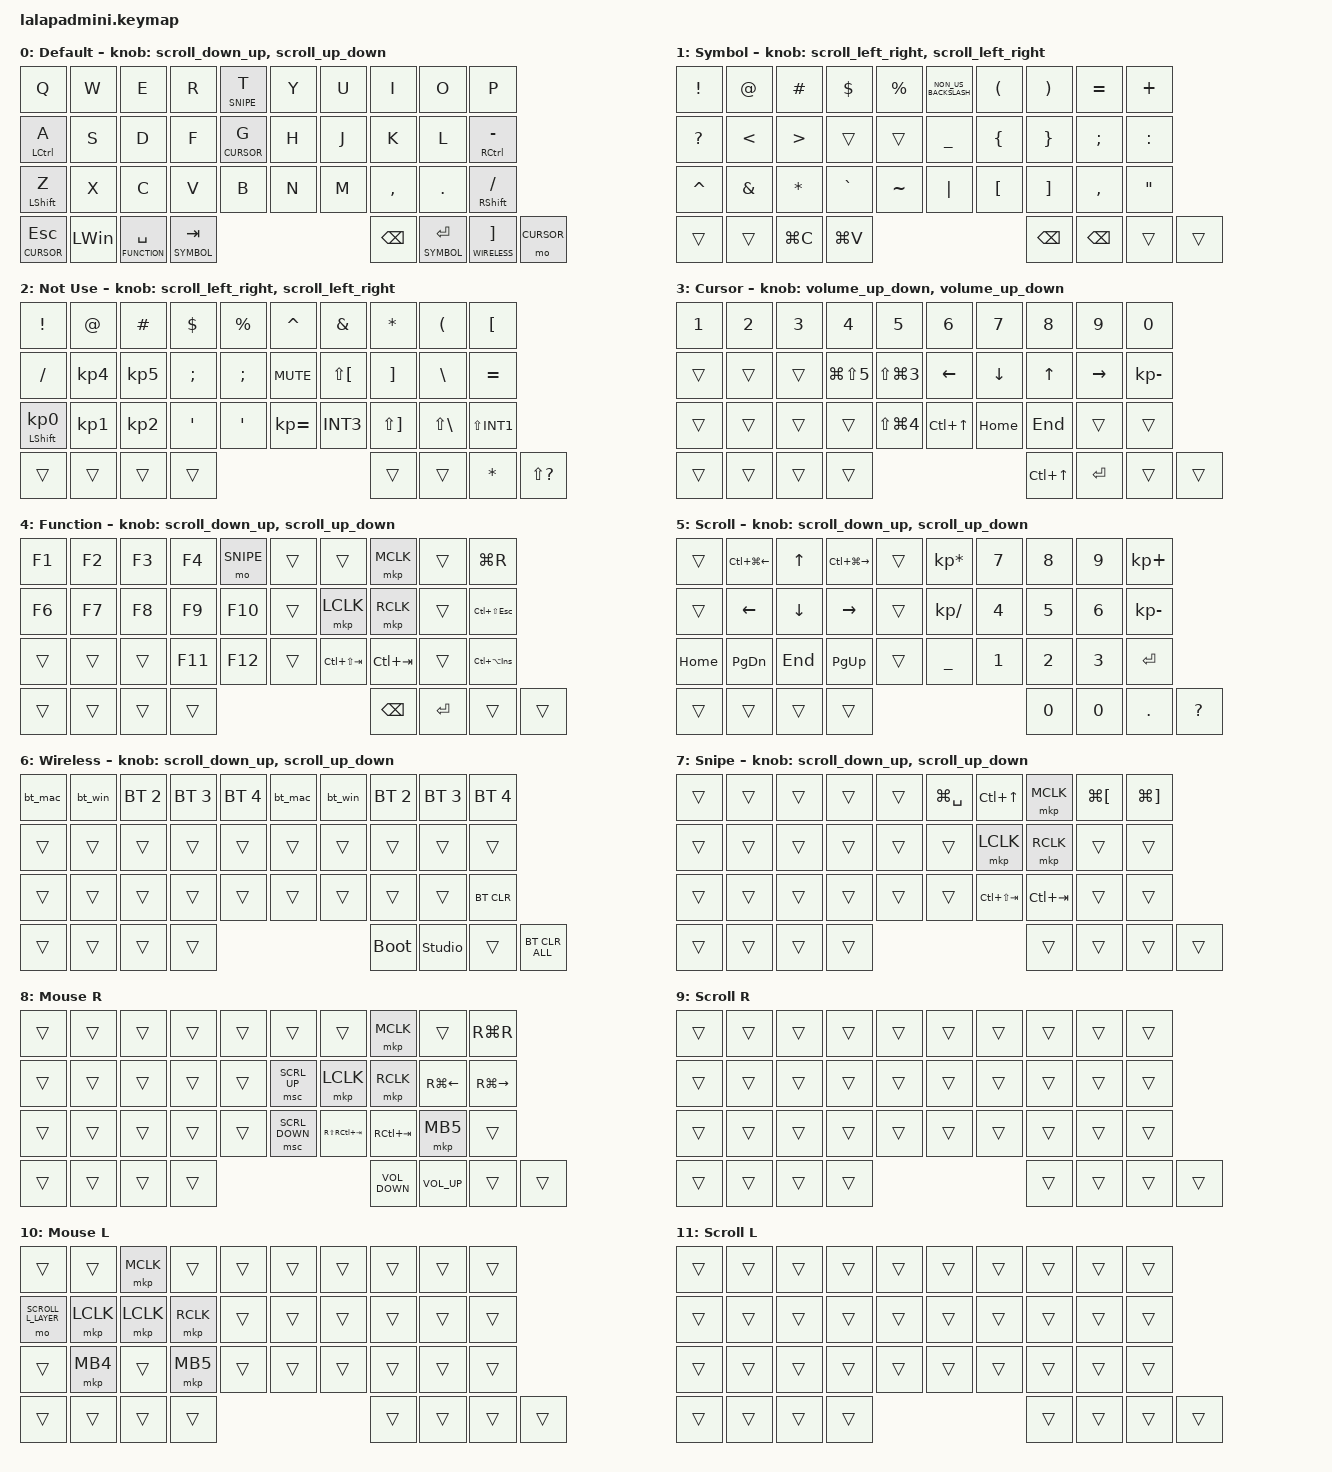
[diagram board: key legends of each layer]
#include <input/processors.dtsi>
#include <behaviors.dtsi>
#include <dt-bindings/zmk/bt.h>
#include <dt-bindings/zmk/keys.h>
#include <dt-bindings/zmk/pointing.h>

#define DEFAULT_LAYER   0
#define SYMBOL          1
#define NOT_USE         2
#define CURSOR          3
#define FUNCTION        4
#define SCROLL          5
#define WIRELESS        6
#define SNIPE           7
#define MOUSE_R_LAYER   8
#define SCROLL_R_LAYER  9
#define MOUSE_L_LAYER   10
#define SCROLL_L_LAYER  11

// Mouse Scroll Value

#define ZMK_POINTING_DEFAULT_SCRL_VAL 100

// cirque trackpad input&layer control

&glidepoint_listener_R {
    input-processors =
        <&zip_xy_transform (INPUT_TRANSFORM_XY_SWAP | INPUT_TRANSFORM_X_INVERT | INPUT_TRANSFORM_Y_INVERT)>,
        <&zip_xy_scaler 3 2>,
        <&zip_temp_layer MOUSE_R_LAYER 300>;

    lowspeedmode {
        layers = <SYMBOL>;
        input-processors =
            <&zip_xy_transform (INPUT_TRANSFORM_XY_SWAP | INPUT_TRANSFORM_X_INVERT | INPUT_TRANSFORM_Y_INVERT)>,
            <&zip_xy_scaler 3 5>,
            <&zip_temp_layer MOUSE_R_LAYER 300>;
    };

    scroller {
        layers = <SCROLL_R_LAYER>;
        input-processors =
            <&zip_xy_to_scroll_mapper>,
            <&zip_scroll_transform (INPUT_TRANSFORM_XY_SWAP | INPUT_TRANSFORM_Y_INVERT)>,
            <&zip_scroll_scaler 1 32>;
    };

    cursor_scroller {
        layers = <CURSOR>;
        input-processors =
            <&zip_xy_to_scroll_mapper>,
            <&zip_scroll_transform (INPUT_TRANSFORM_XY_SWAP)>,
            <&zip_scroll_scaler 1 32>;
    };
};

&glidepoint_listener_L {
    input-processors =
        <&zip_xy_transform (INPUT_TRANSFORM_XY_SWAP | INPUT_TRANSFORM_X_INVERT | INPUT_TRANSFORM_Y_INVERT)>,
        <&zip_xy_scaler 3 2>,
        <&zip_temp_layer MOUSE_L_LAYER 300>;

    lowspeedmode {
        layers = <CURSOR>;
        input-processors =
            <&zip_xy_transform (INPUT_TRANSFORM_XY_SWAP | INPUT_TRANSFORM_X_INVERT | INPUT_TRANSFORM_Y_INVERT)>,
            <&zip_xy_scaler 3 4>,
            <&zip_temp_layer MOUSE_L_LAYER 300>;
    };

    scroller {
        layers = <SCROLL_L_LAYER>;
        input-processors =
            <&zip_xy_to_scroll_mapper>,
            <&zip_scroll_transform (INPUT_TRANSFORM_XY_SWAP | INPUT_TRANSFORM_Y_INVERT)>,
            <&zip_scroll_scaler 1 32>;
    };

    cursor_scroller {
        layers = <CURSOR>;
        input-processors =
            <&zip_xy_to_scroll_mapper>,
            <&zip_scroll_transform (INPUT_TRANSFORM_XY_SWAP)>,
            <&zip_scroll_scaler 1 32>;
    };
};

&mt { quick-tap-ms = <200>; };

&lt { quick-tap-ms = <200>; };

/ {
    behaviors {
        // Encoder to Mouse Scroll

        scroll_up_down: behavior_sensor_rotate_mouse_wheel_up_down {
            compatible = "zmk,behavior-sensor-rotate";
            #sensor-binding-cells = <0>;
            bindings = <&msc SCRL_UP>, <&msc SCRL_DOWN>;

            tap-ms = <20>;
        };

        scroll_down_up: behavior_sensor_rotate_mouse_wheel_down_up {
            compatible = "zmk,behavior-sensor-rotate";
            #sensor-binding-cells = <0>;
            bindings = <&msc SCRL_DOWN>, <&msc SCRL_UP>;

            tap-ms = <20>;
        };

        scroll_left_right: behavior_sensor_rotate_mouse_wheel_left_right {
            compatible = "zmk,behavior-sensor-rotate";
            #sensor-binding-cells = <0>;
            bindings = <&msc SCRL_LEFT>, <&msc SCRL_RIGHT>;

            tap-ms = <20>;
        };

        scroll_right_left: behavior_sensor_rotate_mouse_wheel_right_left {
            compatible = "zmk,behavior-sensor-rotate";
            #sensor-binding-cells = <0>;
            bindings = <&msc SCRL_RIGHT>, <&msc SCRL_LEFT>;

            tap-ms = <20>;
        };

        volume_up_down: behavior_sensor_rotate_volume_up_down {
            compatible = "zmk,behavior-sensor-rotate";
            #sensor-binding-cells = <0>;
            bindings = <&kp C_VOLUME_UP>, <&kp C_VOLUME_DOWN>;

            tap-ms = <20>;
        };

        mt_bal: mod_tap_balanced {
            compatible = "zmk,behavior-hold-tap";
            #binding-cells = <2>;
            flavor = "balanced";
            tapping-term-ms = <200>;
            quick-tap-ms = <175>;
            require-prior-idle-ms = <125>;
            bindings = <&kp>, <&kp>;
        };

        lt_hp: layer_tap_hold_preferred {
            compatible = "zmk,behavior-hold-tap";
            #binding-cells = <2>;
            flavor = "balanced";
            tapping-term-ms = <150>;
            quick-tap-ms = <150>;
            bindings = <&mo>, <&kp>;
        };

        bt_mac: bt_mac {
            compatible = "zmk,behavior-macro";
            #binding-cells = <0>;
            wait-ms = <100>;
            tap-ms = <100>;
            bindings = <&bt BT_SEL 0 &to 0>;
        };

        bt_win: bt_win {
            compatible = "zmk,behavior-macro";
            #binding-cells = <0>;
            wait-ms = <100>;
            tap-ms = <100>;
            bindings = <&bt BT_SEL 1 &to 0>;
        };
    };

    combos {
        compatible = "zmk,combos";

        ZenkakuHankaku {
            bindings = <&kp LANG_ZENKAKUHANKAKU>;
            key-positions = <11 12>;
        };

        DeleteKey {
            bindings = <&kp DEL>;
            key-positions = <7 8>;
        };

        InsertKey {
            bindings = <&kp INS>;
            key-positions = <6 7>;
        };

        RightClick {
            bindings = <&mkp MB2>;
            key-positions = <18 17>;
        };

        PrevClick {
            bindings = <&mkp MB4>;
            key-positions = <27 28>;
        };

        ClickNext {
            bindings = <&mkp MB5>;
            key-positions = <26 27>;
        };

        left-ctrl {
            bindings = <&kp LEFT_CONTROL>;
            key-positions = <10 11>;
        };

        ToggleIME {
            bindings = <&kp LC(SPACE)>;
            key-positions = <8 9>;
        };

        MomentaryCursor {
            bindings = <&mo CURSOR>;
            key-positions = <3 4>;
        };
    };

    keymap {
        compatible = "zmk,keymap";

        DEFAULT_LAYER {
            display-name = "Default";
            sensor-bindings = <&scroll_down_up>, <&scroll_up_down>;

            bindings = <
&kp Q                    &kp W         &kp E               &kp R      &lt_hp SNIPE T    &kp Y            &kp U      &kp I      &kp O           &kp P
&mt_bal LCTRL A          &kp S         &kp D               &kp F      &lt_hp CURSOR G   &kp H            &kp J      &kp K      &kp L           &mt_bal RIGHT_CONTROL MINUS
&mt_bal LEFT_SHIFT Z     &kp X         &kp C               &kp V      &kp B             &kp N            &kp M      &kp COMMA  &kp DOT         &mt_bal RIGHT_SHIFT SLASH
&lt CURSOR ESC           &kp LEFT_WIN                      &lt FUNCTION SPACE  &lt SYMBOL TAB   &kp BACKSPACE  &lt SYMBOL ENTER            &lt WIRELESS RIGHT_BRACKET  &mo CURSOR
            >;
        };

        SYMBOL_LAYER {
            display-name = "Symbol";
            sensor-bindings = <&scroll_left_right>, <&scroll_left_right>;

            bindings = <
&kp EXCLAMATION  &kp AT_SIGN    &kp HASH          &kp DOLLAR  &kp PERCENT    &kp NON_US_BACKSLASH  &kp LEFT_PARENTHESIS  &kp RIGHT_PARENTHESIS  &kp EQUAL         &kp PLUS
&kp QUESTION     &kp LESS_THAN  &kp GREATER_THAN  &trans      &trans         &kp UNDERSCORE        &kp LEFT_BRACE        &kp RIGHT_BRACE        &kp SEMICOLON     &kp COLON
&kp CARET        &kp AMPERSAND  &kp ASTERISK      &kp GRAVE   &kp TILDE      &kp PIPE              &kp LEFT_BRACKET      &kp RIGHT_BRACKET      &kp COMMA         &kp DOUBLE_QUOTES
&trans           &trans                            &kp LG(C)   &kp LG(V)      &kp BACKSPACE         &kp BACKSPACE                                &trans            &trans
            >;
        };

        NOT_USE {
            display-name = "Not Use";
            sensor-bindings = <&scroll_left_right>, <&scroll_left_right>;

            bindings = <
&kp EXCLAMATION             &kp AT           &kp HASH         &kp DOLLAR     &kp PERCENT      &kp CARET     &kp AMPERSAND  &kp ASTERISK           &kp LEFT_PARENTHESIS  &kp LBKT
&kp SLASH                   &kp KP_NUMBER_4  &kp KP_NUMBER_5  &kp SEMICOLON  &kp SEMICOLON    &kp C_MUTE    &kp LS(LBKT)   &kp RIGHT_BRACKET      &kp BACKSLASH         &kp EQUAL
&mt LEFT_SHIFT KP_NUMBER_0  &kp KP_NUMBER_1  &kp KP_NUMBER_2  &kp APOS       &kp SQT          &kp KP_EQUAL  &kp INT3       &kp LS(RIGHT_BRACKET)  &kp LS(BACKSLASH)     &kp LS(INT1)
&trans                      &trans                            &trans         &trans            &trans        &trans                                &kp ASTERISK          &kp LS(QUESTION)
            >;
        };

        CURSOR_LAYER {
            display-name = "Cursor";
            sensor-bindings = <&volume_up_down>, <&volume_up_down>;

            bindings = <
&kp NUMBER_1  &kp NUMBER_2  &kp NUMBER_3  &kp NUMBER_4          &kp NUMBER_5           &kp NUMBER_6      &kp NUMBER_7  &kp NUMBER_8  &kp NUMBER_9  &kp NUMBER_0
&trans        &trans        &trans        &kp LG(LS(NUMBER_5))  &kp LS(LG(NUMBER_3))   &kp LEFT          &kp DOWN      &kp UP_ARROW  &kp RIGHT     &kp KP_MINUS
&trans        &trans        &trans        &trans                &kp LS(LG(NUMBER_4))   &kp LC(UP_ARROW)  &kp HOME      &kp END       &trans        &trans
&trans        &trans                      &trans                &trans                  &kp LC(UP_ARROW)  &kp ENTER                   &trans        &trans
            >;
        };

        FUNCTION_LAYER {
            display-name = "Function";
            sensor-bindings = <&scroll_down_up>, <&scroll_up_down>;

            bindings = <
&kp F1  &kp F2  &kp F3  &kp F4   &mo SNIPE                      &trans     &trans           &mkp MCLK    &trans  &kp LG(R)
&kp F6  &kp F7  &kp F8  &kp F9   &kp F10                        &trans     &mkp LCLK        &mkp RCLK    &trans  &kp LC(LS(ESCAPE))
&trans  &trans  &trans  &kp F11  &kp F12                         &trans     &kp LC(LS(TAB))  &kp LC(TAB)  &trans  &kp LC(LA(INS))
&trans  &trans                   &trans   &trans                  &kp BACKSPACE  &kp ENTER                &trans  &trans
            >;
        };

        SCROLL_LAYER {
            display-name = "Scroll";
            sensor-bindings = <&scroll_down_up>, <&scroll_up_down>;

            bindings = <
&trans    &kp LC(LG(LEFT_ARROW))  &kp UP_ARROW  &kp LC(LG(RIGHT_ARROW))  &trans       &kp KP_MULTIPLY  &kp NUMBER_7  &kp NUMBER_8  &kp NUMBER_9  &kp KP_PLUS
&trans    &kp LEFT_ARROW          &kp DOWN      &kp RIGHT_ARROW          &trans       &kp KP_SLASH     &kp NUMBER_4  &kp NUMBER_5  &kp NUMBER_6  &kp KP_MINUS
&kp HOME  &kp PAGE_DOWN           &kp END       &kp PAGE_UP              &trans       &kp UNDER        &kp NUMBER_1  &kp NUMBER_2  &kp NUMBER_3  &kp ENTER
&trans    &trans                                &trans                   &trans        &kp NUMBER_0     &kp NUMBER_0                &kp DOT       &kp QUESTION
            >;
        };

        WIRELESS_LAYER {
            display-name = "Wireless";
            sensor-bindings = <&scroll_down_up>, <&scroll_up_down>;

            bindings = <
&bt_mac       &bt_win       &bt BT_SEL 2  &bt BT_SEL 3  &bt BT_SEL 4    &bt_mac         &bt_win       &bt BT_SEL 2  &bt BT_SEL 3  &bt BT_SEL 4
&trans        &trans        &trans        &trans        &trans           &trans          &trans        &trans        &trans        &trans
&trans        &trans        &trans        &trans        &trans           &trans          &trans        &trans        &trans        &bt BT_CLR
&trans        &trans                      &trans        &trans           &bootloader     &studio_unlock              &trans        &bt BT_CLR_ALL
            >;
        };

        SNIPE_LAYER {
            display-name = "Snipe";
            sensor-bindings = <&scroll_down_up>, <&scroll_up_down>;

            bindings = <
&trans  &trans  &trans  &trans  &trans    &kp LG(SPACE)  &kp LC(UP_ARROW)  &mkp MCLK    &kp LG(LEFT_BRACKET)  &kp LG(RIGHT_BRACKET)
&trans  &trans  &trans  &trans  &trans    &trans         &mkp LCLK         &mkp RCLK    &trans                &trans
&trans  &trans  &trans  &trans  &trans    &trans         &kp LC(LS(TAB))   &kp LC(TAB)  &trans                &trans
&trans  &trans                  &trans  &trans    &trans         &trans                           &trans                &trans
            >;
        };

        MOUSE_R_LAYER {
            display-name = "Mouse R";
            bindings = <
&trans  &trans  &trans  &trans  &trans    &trans             &trans           &mkp MCLK    &trans        &kp RG(R)
&trans  &trans  &trans  &trans  &trans    &msc SCRL_UP       &mkp LCLK        &mkp RCLK    &kp RG(LEFT)  &kp RG(RIGHT)
&trans  &trans  &trans  &trans  &trans    &msc SCRL_DOWN     &kp RS(RC(TAB))  &kp RC(TAB)  &mkp MB5      &trans
&trans  &trans                  &trans  &trans    &kp C_VOLUME_DOWN  &kp C_VOLUME_UP               &trans        &trans
            >;
        };

        SCROLL_R_LAYER {
            display-name = "Scroll R";
            bindings = <
&trans  &trans  &trans  &trans  &trans    &trans  &trans  &trans  &trans  &trans
&trans  &trans  &trans  &trans  &trans    &trans  &trans  &trans  &trans  &trans
&trans  &trans  &trans  &trans  &trans    &trans  &trans  &trans  &trans  &trans
&trans  &trans                  &trans  &trans    &trans  &trans          &trans  &trans
            >;
        };

        MOUSE_L_LAYER {
            display-name = "Mouse L";
            bindings = <
&trans  &trans       &mkp MCLK  &trans     &trans    &trans  &trans  &trans  &trans  &trans
&mo SCROLL_L_LAYER  &mkp LCLK  &mkp LCLK  &mkp RCLK  &trans    &trans  &trans  &trans  &trans  &trans
&trans  &mkp MB4     &trans     &mkp MB5   &trans    &trans  &trans  &trans  &trans  &trans
&trans  &trans                  &trans     &trans    &trans  &trans          &trans  &trans
            >;
        };

        SCROLL_L_LAYER {
            display-name = "Scroll L";
            bindings = <
&trans  &trans  &trans  &trans  &trans    &trans  &trans  &trans  &trans  &trans
&trans  &trans  &trans  &trans  &trans    &trans  &trans  &trans  &trans  &trans
&trans  &trans  &trans  &trans  &trans    &trans  &trans  &trans  &trans  &trans
&trans  &trans                  &trans  &trans    &trans  &trans          &trans  &trans
            >;
        };
    };

    conditional_layers {
        compatible = "zmk,conditional-layers";

        scroll_layer {
            if-layers = <SYMBOL CURSOR>;
            then-layer = <SCROLL>;
        };
    };
};
